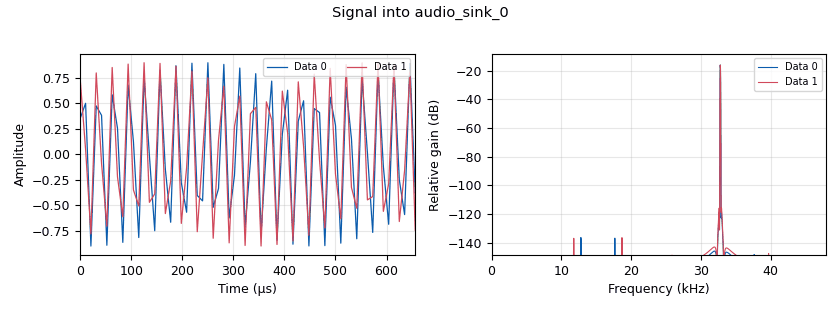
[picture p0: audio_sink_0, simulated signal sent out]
options:
  parameters:
    author: jmfriedt
    generate_options: qt_gui
    id: snd
    output_language: python
    title: Not titled yet
  states: {}

blocks:
- name: f
  id: variable_qtgui_range
  parameters:
    start: '0'
    step: '.1'
    stop: samp_rate/2
    value: '32768'
  states: {}
- name: samp_rate
  id: variable
  parameters:
    value: '96000'
  states: {}
- name: analog_sig_source_x_0
  id: analog_sig_source_x
  parameters:
    amp: '.9'
    freq: f
    offset: '0'
    phase: '0'
    samp_rate: samp_rate
    type: float
    waveform: analog.GR_COS_WAVE
  states: {}
- name: analog_sig_source_x_0_0
  id: analog_sig_source_x
  parameters:
    amp: '.9'
    freq: f+1
    offset: '0'
    phase: '0'
    samp_rate: samp_rate
    type: float
    waveform: analog.GR_COS_WAVE
  states: {}
- name: audio_sink_0
  id: audio_sink
  parameters:
    comment: |-
      hw:CARD=PCH,DEV=0
      sudo systemctl disable --global pipewire

      systemctl --user stop pulseaudio.socket && systemctl --user stop pulseaudio.service
      systemctl --user stop pipewire.socket && systemctl --user stop pipewire.service
      systemctl --user stop pipewire-pulse.socket && systemctl --user stop pipewire-pulse.service
    device_name: hw:CARD=Audio,DEV=0
    num_inputs: '2'
    samp_rate: samp_rate
  states: {}

connections:
- [analog_sig_source_x_0, '0', audio_sink_0, '0']
- [analog_sig_source_x_0_0, '0', audio_sink_0, '1']

metadata:
  file_format: 1
  grc_version: 3.10.12.0
